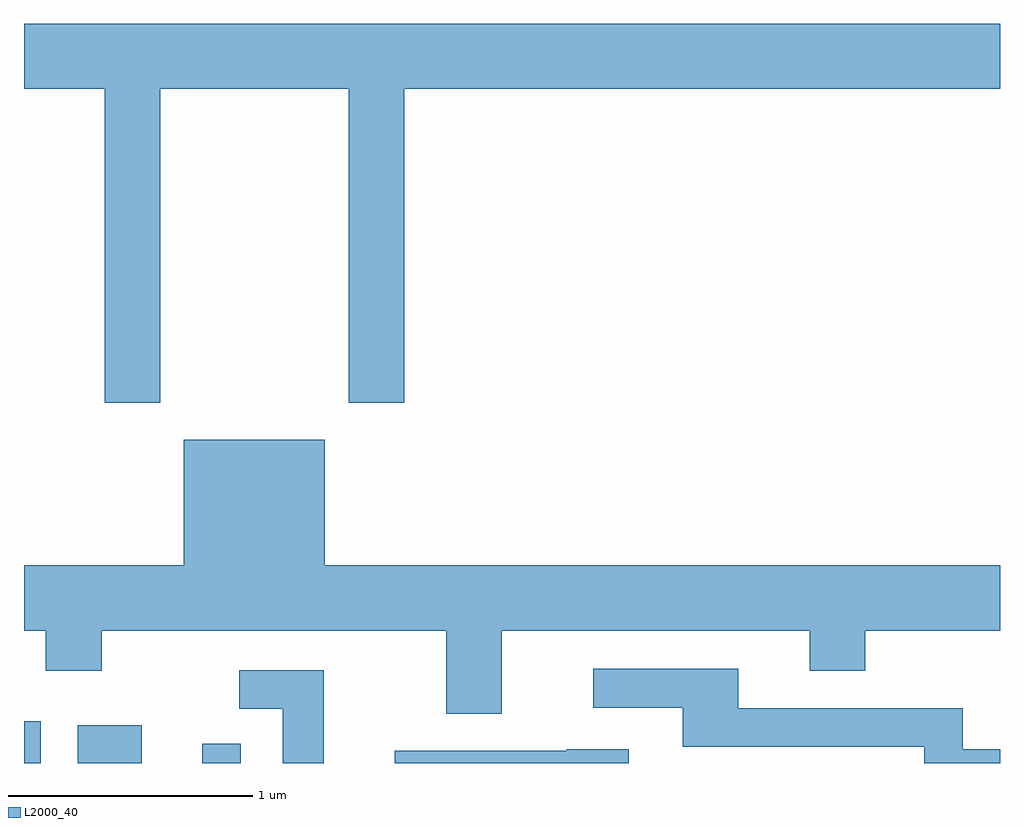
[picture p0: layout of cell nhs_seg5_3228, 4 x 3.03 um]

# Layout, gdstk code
import gdstk
lib = gdstk.Library(unit=1e-6, precision=1e-09)
def R(c, l, rs):  # rectangles x0, y0, x1, y1
    for r in rs: c.add(gdstk.rectangle(r[:2], r[2:], *l))
def P(c, l, *ps):  # polygons
    for p in ps: c.add(gdstk.Polygon(p, *l))
L2000_40 = (2000, 40)

nhs_seg5_3228 = lib.new_cell('nhs_seg5_3228')
R(nhs_seg5_3228, L2000_40, [(281.611,1414.072,281.679,1414.244), (281.831,1414.072,282.094,1414.229), (282.341,1414.072,282.499,1414.153)])
P(nhs_seg5_3228, L2000_40, [(282.169,1416.836),(282.941,1416.836),(282.941,1415.551),(283.169,1415.551),(283.169,1416.836),(285.611,1416.836),(285.611,1417.104),(281.611,1417.104),(281.611,1416.836),(281.941,1416.836),(281.941,1415.551),(282.169,1415.551)],
  [(283.569,1414.616),(284.831,1414.616),(284.831,1414.451),(285.059,1414.451),(285.059,1414.616),(285.611,1414.616),(285.611,1414.884),(282.844,1414.884),(282.844,1415.399),(282.266,1415.399),(282.266,1414.884),(281.611,1414.884),(281.611,1414.616),(281.701,1414.616),(281.701,1414.451),(281.929,1414.451),(281.929,1414.616),(283.341,1414.616),(283.341,1414.276),(283.569,1414.276)],
  [(285.611,1414.129),(285.459,1414.129),(285.459,1414.299),(284.539,1414.299),(284.539,1414.459),(283.943,1414.459),(283.943,1414.301),(284.311,1414.301),(284.311,1414.141),(285.301,1414.141),(285.301,1414.072),(285.611,1414.072)],
  [(282.839,1414.454),(282.493,1414.454),(282.493,1414.296),(282.671,1414.296),(282.671,1414.072),(282.839,1414.072)],
  [(284.089,1414.129),(283.835,1414.129),(283.835,1414.124),(283.131,1414.124),(283.131,1414.072),(284.089,1414.072)])

lib.write_gds('nhs_seg5_3228.gds')
